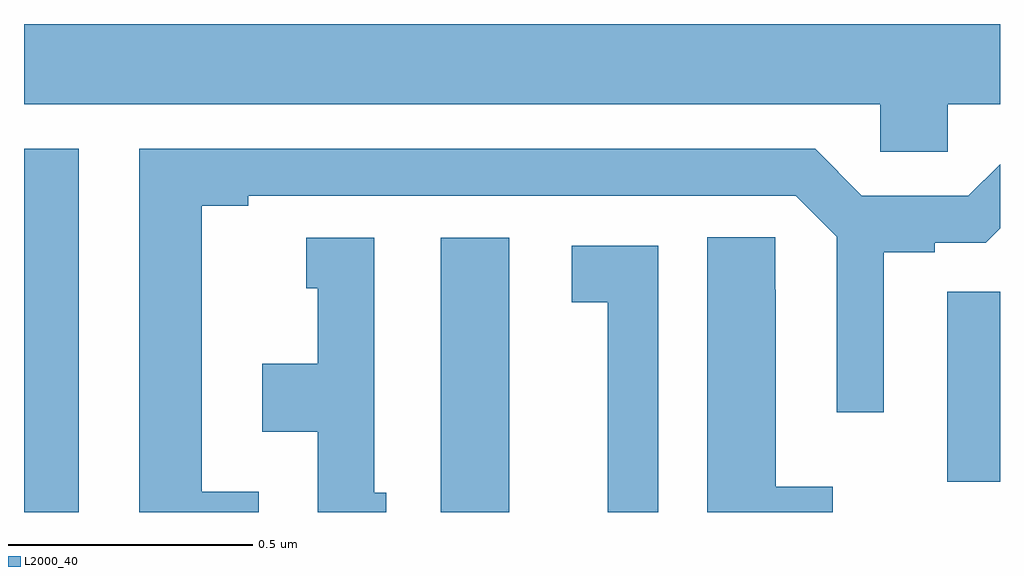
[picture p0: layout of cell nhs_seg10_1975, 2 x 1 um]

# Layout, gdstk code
import gdstk
lib = gdstk.Library(unit=1e-6, precision=1e-09)
def R(c, l, rs):  # rectangles x0, y0, x1, y1
    for r in rs: c.add(gdstk.rectangle(r[:2], r[2:], *l))
def P(c, l, *ps):  # polygons
    for p in ps: c.add(gdstk.Polygon(p, *l))
L2000_40 = (2000, 40)

nhs_seg10_1975 = lib.new_cell('nhs_seg10_1975')
R(nhs_seg10_1975, L2000_40, [(135,1279.5,135.112,1280.244), (135.854,1279.5,135.994,1280.062), (136.892,1279.562,137,1279.951)])
P(nhs_seg10_1975, L2000_40, [(136.893,1280.336),(137,1280.336),(137,1280.5),(135,1280.5),(135,1280.336),(136.755,1280.336),(136.755,1280.238),(136.893,1280.238)],
  [(135.481,1279.542),(135.364,1279.542),(135.364,1280.128),(135.46,1280.128),(135.46,1280.148),(136.581,1280.148),(136.665,1280.064),(136.665,1279.704),(136.762,1279.704),(136.762,1280.032),(136.866,1280.032),(136.866,1280.052),(136.971,1280.052),(137,1280.081),(137,1280.213),(136.935,1280.148),(136.717,1280.148),(136.621,1280.244),(135.236,1280.244),(135.236,1279.5),(135.481,1279.5)],
  [(136.657,1279.552),(136.54,1279.552),(136.54,1279.955),(136.539,1279.955),(136.539,1280.063),(136.4,1280.063),(136.4,1279.5),(136.657,1279.5)],
  [(135.742,1279.539),(135.718,1279.539),(135.718,1280.062),(135.578,1280.062),(135.578,1279.959),(135.602,1279.959),(135.602,1279.804),(135.488,1279.804),(135.488,1279.664),(135.602,1279.664),(135.602,1279.5),(135.742,1279.5)],
  [(136.3,1280.046),(136.122,1280.046),(136.122,1279.93),(136.196,1279.93),(136.196,1279.5),(136.3,1279.5)])

lib.write_gds('nhs_seg10_1975.gds')
